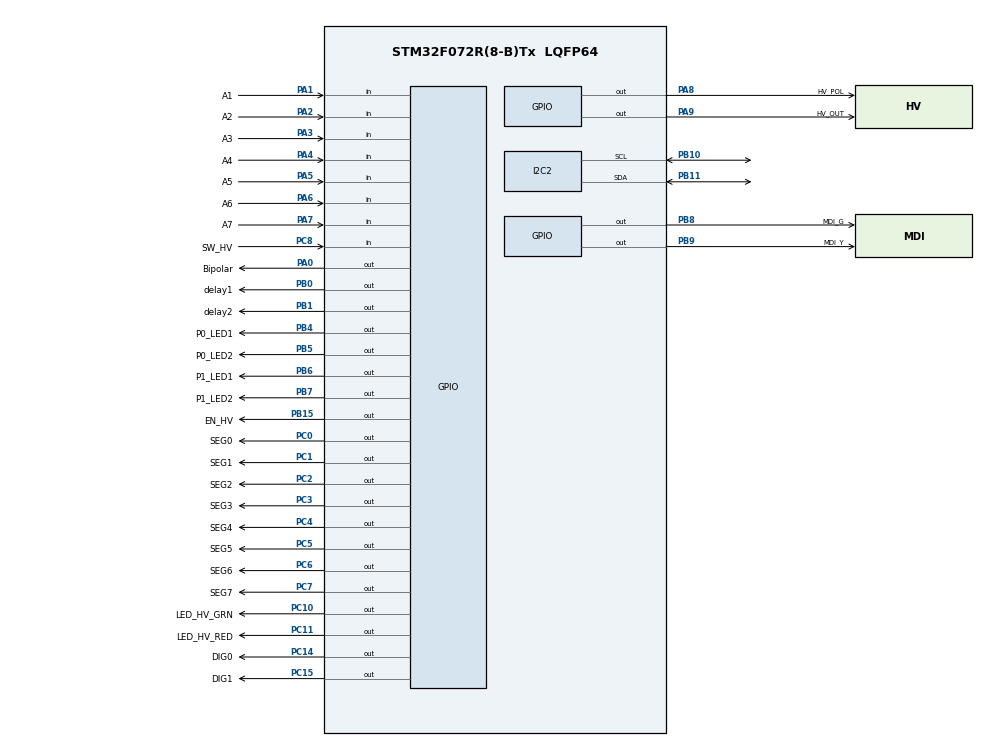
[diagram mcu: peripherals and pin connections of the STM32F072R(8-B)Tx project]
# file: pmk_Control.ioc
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Dma.I2C2_RX.0.Direction=DMA_PERIPH_TO_MEMORY
Dma.I2C2_RX.0.Instance=DMA1_Channel5
Dma.I2C2_RX.0.MemDataAlignment=DMA_MDATAALIGN_BYTE
Dma.I2C2_RX.0.MemInc=DMA_MINC_ENABLE
Dma.I2C2_RX.0.Mode=DMA_NORMAL
Dma.I2C2_RX.0.PeriphDataAlignment=DMA_PDATAALIGN_BYTE
Dma.I2C2_RX.0.PeriphInc=DMA_PINC_DISABLE
Dma.I2C2_RX.0.Priority=DMA_PRIORITY_VERY_HIGH
Dma.I2C2_TX.1.Direction=DMA_MEMORY_TO_PERIPH
Dma.I2C2_TX.1.Instance=DMA1_Channel4
Dma.I2C2_TX.1.MemDataAlignment=DMA_MDATAALIGN_BYTE
Dma.I2C2_TX.1.MemInc=DMA_MINC_ENABLE
Dma.I2C2_TX.1.Mode=DMA_NORMAL
Dma.I2C2_TX.1.PeriphDataAlignment=DMA_PDATAALIGN_BYTE
Dma.I2C2_TX.1.PeriphInc=DMA_PINC_DISABLE
Dma.I2C2_TX.1.Priority=DMA_PRIORITY_VERY_HIGH
Dma.Request0=I2C2_RX
Dma.Request1=I2C2_TX
I2C2.Analog_Filter=I2C_ANALOGFILTER_DISABLE
I2C2.I2C_Fall_Time=100
I2C2.I2C_Rise_Time=100
I2C2.OwnAddress=3
I2C2.Speed=100
I2C2.Timing=0x00201D2B
IWDG.Prescaler=IWDG_PRESCALER_256
Mcu.Family=STM32F0
Mcu.Name=STM32F072R(8-B)Tx
Mcu.Package=LQFP64
NVIC.DMA1_Channel4_5_6_7_IRQn=true\:0\:0\:false\:false\:true\:false\:true\:true
NVIC.I2C2_IRQn=true\:0\:0\:false\:false\:true\:true\:true\:true
NVIC.TIM14_IRQn=true\:3\:0\:true\:false\:true\:true\:true\:true
NVIC.TIM16_IRQn=true\:3\:0\:true\:false\:true\:true\:true\:true
NVIC.TIM17_IRQn=true\:0\:0\:true\:false\:true\:true\:true\:true
NVIC.TIM6_DAC_IRQn=true\:2\:0\:true\:false\:true\:true\:true\:true
NVIC.TIM7_IRQn=true\:3\:0\:true\:false\:true\:true\:true\:true
PA0.GPIO_Label=Bipolar
PA0.GPIO_PuPd=GPIO_NOPULL
PA0.Signal=GPIO_Output
PA1.GPIO_Label=A1
PA1.GPIO_PuPd=GPIO_PULLUP
PA1.Signal=GPIO_Input
PA13.Mode=Serial_Wire
PA13.Signal=SYS_SWDIO
PA14.Mode=Serial_Wire
PA14.Signal=SYS_SWCLK
PA2.GPIO_Label=A2
PA2.GPIO_PuPd=GPIO_PULLUP
PA2.Signal=GPIO_Input
PA3.GPIO_Label=A3
PA3.GPIO_PuPd=GPIO_PULLUP
PA3.Signal=GPIO_Input
PA4.GPIO_Label=A4
PA4.GPIO_PuPd=GPIO_PULLUP
PA4.Signal=GPIO_Input
PA5.GPIO_Label=A5
PA5.GPIO_PuPd=GPIO_PULLUP
PA5.Signal=GPIO_Input
PA6.GPIO_Label=A6
PA6.GPIO_PuPd=GPIO_PULLUP
PA6.Signal=GPIO_Input
PA7.GPIO_Label=A7
PA7.GPIO_PuPd=GPIO_PULLUP
PA7.Signal=GPIO_Input
PA8.GPIO_Label=HV_POL
PA8.Signal=GPIO_Output
PA9.GPIO_Label=HV_OUT
PA9.Signal=GPIO_Output
PB0.GPIO_Label=delay1
PB0.Signal=GPIO_Output
PB1.GPIO_Label=delay2
PB1.Signal=GPIO_Output
PB10.GPIO_Pu=GPIO_NOPULL
PB10.GPIO_Speed=GPIO_SPEED_FREQ_HIGH
PB10.Mode=I2C
PB10.Signal=I2C2_SCL
PB11.GPIO_Pu=GPIO_NOPULL
PB11.GPIO_Speed=GPIO_SPEED_FREQ_HIGH
PB11.Mode=I2C
PB11.Signal=I2C2_SDA
PB15.GPIO_Label=EN_HV
PB15.Signal=GPIO_Output
PB4.GPIO_Label=P0_LED1
PB4.Signal=GPIO_Output
PB5.GPIO_Label=P0_LED2
PB5.Signal=GPIO_Output
PB6.GPIO_Label=P1_LED1
PB6.Signal=GPIO_Output
PB7.GPIO_Label=P1_LED2
PB7.Signal=GPIO_Output
PB8.GPIO_Label=MDI_G
PB8.Signal=GPIO_Output
PB9.GPIO_Label=MDI_Y
PB9.Signal=GPIO_Output
PC0.GPIO_Label=SEG0
PC0.GPIO_Speed=GPIO_SPEED_FREQ_HIGH
PC0.PinState=GPIO_PIN_SET
PC0.Signal=GPIO_Output
PC1.GPIO_Label=SEG1
PC1.GPIO_Speed=GPIO_SPEED_FREQ_HIGH
PC1.PinState=GPIO_PIN_SET
PC1.Signal=GPIO_Output
PC10.GPIO_Label=LED_HV_GRN
PC10.Signal=GPIO_Output
PC11.GPIO_Label=LED_HV_RED
PC11.Signal=GPIO_Output
PC14-OSC32_IN.GPIO_Label=DIG0
PC14-OSC32_IN.PinState=GPIO_PIN_SET
PC14-OSC32_IN.Signal=GPIO_Output
PC15-OSC32_OUT.GPIO_Label=DIG1
PC15-OSC32_OUT.PinState=GPIO_PIN_SET
PC15-OSC32_OUT.Signal=GPIO_Output
PC2.GPIO_Label=SEG2
PC2.GPIO_Speed=GPIO_SPEED_FREQ_HIGH
PC2.PinState=GPIO_PIN_SET
PC2.Signal=GPIO_Output
PC3.GPIO_Label=SEG3
PC3.GPIO_Speed=GPIO_SPEED_FREQ_HIGH
PC3.PinState=GPIO_PIN_SET
PC3.Signal=GPIO_Output
PC4.GPIO_Label=SEG4
PC4.GPIO_Speed=GPIO_SPEED_FREQ_HIGH
PC4.PinState=GPIO_PIN_SET
PC4.Signal=GPIO_Output
PC5.GPIO_Label=SEG5
PC5.GPIO_Speed=GPIO_SPEED_FREQ_HIGH
PC5.PinState=GPIO_PIN_SET
PC5.Signal=GPIO_Output
PC6.GPIO_Label=SEG6
PC6.GPIO_Speed=GPIO_SPEED_FREQ_HIGH
PC6.PinState=GPIO_PIN_SET
PC6.Signal=GPIO_Output
PC7.GPIO_Label=SEG7
PC7.GPIO_Speed=GPIO_SPEED_FREQ_HIGH
PC7.PinState=GPIO_PIN_SET
PC7.Signal=GPIO_Output
PC8.GPIO_Label=SW_HV
PC8.Signal=GPIO_Input
ProjectManager.HeapSize=0x200
ProjectManager.StackSize=0x400
ProjectManager.TargetToolchain=MDK-ARM V5.32
TIM14.Period=1000
TIM14.Prescaler=7999
TIM16.Period=10
TIM16.Prescaler=799
TIM17.Prescaler=8
TIM6.Prescaler=8
TIM7.Prescaler=8
VP_IWDG_VS_IWDG.Mode=IWDG_Activate
VP_TIM14_VS_ClockSourceINT.Mode=Enable_Timer
VP_TIM16_VS_ClockSourceINT.Mode=Enable_Timer
VP_TIM17_VS_ClockSourceINT.Mode=Enable_Timer
VP_TIM6_VS_ClockSourceINT.Mode=Enable_Timer
VP_TIM7_VS_ClockSourceINT.Mode=Enable_Timer
board=custom

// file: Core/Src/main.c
/* USER CODE BEGIN Header */
/**
  ******************************************************************************
  * @file           : main.c
  * @brief          : Main program body
  ******************************************************************************
  * @attention
  *
  * Copyright (c) 2023 STMicroelectronics.
  * All rights reserved.
  *
  * This software is licensed under terms that can be found in the LICENSE file
  * in the root directory of this software component.
  * If no LICENSE file comes with this software, it is provided AS-IS.
  *
  ******************************************************************************
  */
/* USER CODE END Header */
#include "main.h"

/* USER CODE BEGIN PTD */

HAL_StatusTypeDef RTF; // test i2c
HAL_StatusTypeDef WTF; // test i2c
HAL_StatusTypeDef ErrorTF; // test i2c
volatile uint8_t arrI2c[10] = {0, 0, 0};
uint8_t arrI2c_R[4][12];
uint32_t addr;
uint8_t arrI2c_T[4][12];
uint8_t block;
uint8_t lanSelect;
uint32_t lanCurrent = 0;
_Bool blockSetEEPROM = 0;
_Bool I2C_HV_off = 1;
//_Bool HV_on = 0;
uint8_t readyHV[4];
uint32_t delayHV;
uint8_t modeHV =0;
_Bool tempHv;
int hv;
int HV_state = -1;
uint32_t delayHV = 0;
//_Bool test_Bipolar;
//_Bool bipolar;
uint32_t led_hv_dinamic = 0;
uint8_t hvAllarm = 0;

struct I2C_Module i2cm;

char AAR;

uint8_t addrIIc;
uint16_t filtr = 0;
uint16_t filtrDelay = 100; // фильтр по авариям ii2

//			_Bool hvLoad =0;
//uint16_t hvLoadCurrent=0;
/* USER CODE END PTD */

/* USER CODE BEGIN PM */
uint8_t xBuffer[4]; // сканирование плат
uint8_t yBuffer[4][10]; // запись ID устройства
uint8_t zBuffer[4][10];
uint32_t pBuffer;
int hvPool = 0; // при 0 на выход идет -100 В
int poolState = -1;
int hvOut =0; 	// 	при 0 выход закорочен на землю
int outState = -1;
uint16_t indicator_alarm = 0;
uint16_t alarm[4]= {0, 0, 0, 0};

#define I2C1_DEVICE_ADDRESS      0x50   /* A0 = A1 = A2 = 0 */
#define MEMORY_ADDRESS      			0x08
/* USER CODE END PM */

I2C_HandleTypeDef hi2c2;
DMA_HandleTypeDef hdma_i2c2_rx;
DMA_HandleTypeDef hdma_i2c2_tx;

IWDG_HandleTypeDef hiwdg;

TIM_HandleTypeDef htim6;
TIM_HandleTypeDef htim7;
TIM_HandleTypeDef htim14;
TIM_HandleTypeDef htim16;
TIM_HandleTypeDef htim17;

void SystemClock_Config(void);
static void MX_GPIO_Init(void);
static void MX_DMA_Init(void);
static void MX_I2C2_Init(void);
static void MX_TIM7_Init(void);
static void MX_TIM6_Init(void);
static void MX_IWDG_Init(void);
static void MX_TIM14_Init(void);
static void MX_TIM16_Init(void);
static void MX_TIM17_Init(void);

/* USER CODE BEGIN 0 */
void HAL_I2C_MasterTxCpltCallback()
{

	HAL_GPIO_WritePin(delay2_GPIO_Port, delay2_Pin, 1);
	for (int i=0; i<100; i++){__ASM("nop");}
	block = 1;

}
void HAL_I2C_MasterRxCpltCallback()
{
//	HAL_IWDG_Refresh(&hiwdg);
	HAL_GPIO_WritePin(delay1_GPIO_Port, delay1_Pin, 1);
	for (int i=0; i<100; i++){__ASM("nop");}
	block = 0;
}
void HAL_I2C_ErrorCallback()
{
	ErrorTF = HAL_I2C_GetError(&hi2c2);

	block = 0;
}

/* USER CODE END 0 */

int main(void)
{
  /* USER CODE BEGIN 1 */
//__HAL_RCC_I2C1_FORCE_RESET();
//HAL_Delay(1000);
//__HAL_RCC_I2C1_RELEASE_RESET();

	int i;
	i2cm.instance = hi2c2;
	i2cm.sclPin = GPIO_PIN_10;
	i2cm.sclPort = GPIOB;
	i2cm.sdaPin = GPIO_PIN_11;
	i2cm.sdaPort = GPIOB;

  /* USER CODE END 1 */

  /* MCU Configuration--------------------------------------------------------*/

  /* Reset of all peripherals, Initializes the Flash interface and the Systick. */
  HAL_Init();

  /* Configure the system clock */
  SystemClock_Config();

  /* USER CODE BEGIN SysInit */
	 __HAL_RCC_I2C2_CLK_ENABLE();
  HAL_Delay(100);
  __HAL_RCC_I2C2_FORCE_RESET();
  HAL_Delay(100);
  __HAL_RCC_I2C2_RELEASE_RESET();
  HAL_Delay(100);
  /* USER CODE END SysInit */

  /* Initialize all configured peripherals */
  MX_GPIO_Init();
  MX_DMA_Init();
  MX_I2C2_Init();
  MX_TIM7_Init();
  MX_TIM6_Init();
  MX_IWDG_Init();
  MX_TIM14_Init();
  MX_TIM16_Init();
  MX_TIM17_Init();
  /* USER CODE BEGIN 2 */
HAL_TIM_Base_Start_IT(&htim7);
HAL_TIM_Base_Start_IT(&htim6);
HAL_TIM_Base_Start_IT(&htim14);
HAL_TIM_Base_Start_IT(&htim17);
//HAL_TIM_Base_Start_IT(&htim16);
//RTF = HAL_I2C_Master_Transmit_IT(&hi2c2, 0x02, masterAddr, 4);

HAL_GPIO_WritePin(LED_HV_GRN_GPIO_Port, LED_HV_GRN_Pin, 1);

  HAL_GPIO_WritePin(P0_LED1_GPIO_Port, P0_LED1_Pin, 1);
  HAL_GPIO_WritePin(P0_LED2_GPIO_Port, P0_LED2_Pin, 0);
  HAL_GPIO_WritePin(P1_LED1_GPIO_Port, P1_LED1_Pin, 1);
  HAL_GPIO_WritePin(P1_LED2_GPIO_Port, P1_LED2_Pin, 0);
  HAL_GPIO_WritePin(MDI_Y_GPIO_Port, MDI_Y_Pin, 1);
  HAL_GPIO_WritePin(MDI_Y_GPIO_Port, MDI_G_Pin, 0);

  HAL_GPIO_WritePin(GPIOC, DIG1_Pin, 1);
  for(int i=0; i<500; i++)
	  HEX_digit(8, DIG0_Pin);

  HAL_GPIO_WritePin(LED_HV_GRN_GPIO_Port, LED_HV_GRN_Pin, 0);
  HAL_GPIO_WritePin(LED_HV_RED_GPIO_Port, LED_HV_RED_Pin, 1);
  HAL_GPIO_WritePin(P0_LED1_GPIO_Port, P0_LED1_Pin, 0);
  HAL_GPIO_WritePin(P0_LED2_GPIO_Port, P0_LED2_Pin, 1);
  HAL_GPIO_WritePin(P1_LED1_GPIO_Port, P1_LED1_Pin, 0);
  HAL_GPIO_WritePin(P1_LED2_GPIO_Port, P1_LED2_Pin, 1);
  HAL_GPIO_WritePin(MDI_Y_GPIO_Port, MDI_Y_Pin, 0);
  HAL_GPIO_WritePin(MDI_Y_GPIO_Port, MDI_G_Pin, 1);

  HAL_GPIO_WritePin(GPIOC, DIG0_Pin, 1);
  for(int i=0; i<500; i++)
	  HEX_digit(8, DIG1_Pin);

  HAL_GPIO_WritePin(LED_HV_RED_GPIO_Port, LED_HV_RED_Pin, 0);

  HAL_GPIO_WritePin(P0_LED1_GPIO_Port, P0_LED1_Pin, 1);
  HAL_GPIO_WritePin(P0_LED2_GPIO_Port, P0_LED2_Pin, 1);
  HAL_GPIO_WritePin(P1_LED1_GPIO_Port, P1_LED1_Pin, 1);
  HAL_GPIO_WritePin(P1_LED2_GPIO_Port, P1_LED2_Pin, 1);
  HAL_GPIO_WritePin(MDI_Y_GPIO_Port, MDI_Y_Pin, 1);
  HAL_GPIO_WritePin(MDI_Y_GPIO_Port, MDI_G_Pin, 1);

  HAL_GPIO_WritePin(DIG0_GPIO_Port, DIG0_Pin, 0);
  HAL_GPIO_WritePin(DIG1_GPIO_Port, DIG1_Pin, 0);
  GPIOC->BRR = 0xff;
  /* USER CODE END 2 */

  /* Infinite loop */
  /* USER CODE BEGIN WHILE */
	HAL_TIM_Base_Start_IT(&htim16);
	HAL_I2C_Mem_Read(&hi2c2, (uint16_t) I2C1_DEVICE_ADDRESS<<1, MEMORY_ADDRESS, 1, xBuffer, 4, 5); //read memory address 08

//	I2C_ClearBusyFlagErratum(&hi2c2, 1000);

//	RTF = HAL_I2C_Master_Transmit_IT(&hi2c2, 2, masterAddr, 3);
//if ((HAL_GPIO_ReadPin(A2_GPIO_Port, A2_Pin)==0))
//{HAL_GPIO_WritePin(Bipolar_GPIO_Port, Bipolar_Pin, 0);}
//else
//{{HAL_GPIO_WritePin(Bipolar_GPIO_Port, Bipolar_Pin, 0);}

while (1)
  {
		HAL_IWDG_Refresh(&hiwdg);

//		HAL_GPIO_WritePin(Bipolar_GPIO_Port, Bipolar_Pin, bipolar);

	addr = ((~GPIOA->IDR & 0xff)&0xFC)+0x01;	//230724

	  // display current modbus address
	  if ((alarm[0] != 0) & (alarm[1] == 0) & (alarm[2] == 0) &(alarm[3] == 0))
		{
		indicator_alarm = alarm[0]; filtr =0;
		}
		else if ((alarm[0] == 0) & (alarm[1] != 0) & (alarm[2] == 0) &(alarm[3] == 0))
		{
		indicator_alarm = alarm[1]; filtr =0;
		}
		else if ((alarm[0] == 0) & (alarm[1] == 0) & (alarm[2] != 0) &(alarm[3] == 0))
		{
		indicator_alarm = alarm[2]; filtr =0;
		}
		else if ((alarm[0] == 0) & (alarm[1] == 0) & (alarm[2] == 0) &(alarm[3] != 0))
		{
		indicator_alarm = alarm [3]; filtr =0;
		}
		else
		{

			if (filtr > filtrDelay )
			{
			indicator_alarm = 0;
			}
			else
			{
			 filtr ++;
			}
		}

		//		indicator_alarm = 0x21;   2 ошибка 1 авария / предупреждение

		if (indicator_alarm != 0)
				{
					HEX_digit(indicator_alarm >> 4, DIG1_Pin);
					HEX_alarm(indicator_alarm & 15, DIG0_Pin);
			}
		else
				{
					HEX_digit(addr >> 4, DIG1_Pin);
					HEX_digit(addr & 15, DIG0_Pin);
				}

	  // process high voltage button
	  hv = HAL_GPIO_ReadPin(SW_HV_GPIO_Port, SW_HV_Pin)==0;

//		hv = hv & HV_on; //!I2C_HV_off;// 20230913

	  if (hv  != HV_state)
			{
		  // button of high voltage changed
		  HAL_GPIO_WritePin(EN_HV_GPIO_Port, EN_HV_Pin, hv);//hv);

		  HV_state = hv;
			}

		if (hvPool != poolState)
		{
			HAL_GPIO_WritePin(HV_POL_GPIO_Port, HV_POL_Pin, hvPool);
			poolState = hvPool;
		}

		if (hvOut != outState)
		{
			HAL_GPIO_WritePin(HV_OUT_GPIO_Port, HV_OUT_Pin, hvOut);
			outState = hvOut;
		}

    /* USER CODE END WHILE */

    /* USER CODE BEGIN 3 */

	//****function transmit Memory
	//*************************** Блок записи номера шасси начало ***************************** //
				uint8_t masterN = 0xFF;
				for(int i=0; i<5; i++)
				{
					if (((arrI2c_R[i][8]<<8)|(arrI2c_R[i][9])) == 1) // определяем с какой платы вызов
					{
						masterN = i;
						break;
					}
					else
					{
						masterN = 0xFF;
					}

				}
				if ((masterN <5)& !blockSetEEPROM)
				{
					yBuffer[masterN][0] = arrI2c_R[masterN][4];
					yBuffer[masterN][1] = arrI2c_R[masterN][5];
					yBuffer[masterN][2] = arrI2c_R[masterN][6];
					yBuffer[masterN][3] = arrI2c_R[masterN][7];

        HAL_I2C_Mem_Write(&hi2c2, (uint16_t) I2C1_DEVICE_ADDRESS<<1, MEMORY_ADDRESS, 1, yBuffer[masterN], 4, 5);	//write to memory address 08
				HAL_Delay(5000); //system wait
				// Проверка записи
//				yBuffer[masterN][0]=0;yBuffer[masterN][1]=0;yBuffer[masterN][2]=0;yBuffer[masterN][3]=0;yBuffer[masterN][4]=0;yBuffer[masterN][5]=0;yBuffer[masterN][6]=0;yBuffer[masterN][7]=0;yBuffer[masterN][8]=0;yBuffer[masterN][9]=0;
				HAL_I2C_Mem_Read(&hi2c2, (uint16_t) I2C1_DEVICE_ADDRESS<<1, MEMORY_ADDRESS, 1, zBuffer[masterN], 4, 5); //read memory address 08
				for(int i=0; i<4; i++)
				{
						if (yBuffer[masterN][i] != zBuffer[masterN][i])
						{
							arrI2c_T[masterN][5] = 0xF0;
							break;
						}
						else
						{
							arrI2c_T[masterN][5] = 0x0F;
						}
				}
							arrI2c_T[masterN][6] = yBuffer[masterN][0];
							arrI2c_T[masterN][7] = yBuffer[masterN][1];
							arrI2c_T[masterN][8] = yBuffer[masterN][2];
							arrI2c_T[masterN][9] = yBuffer[masterN][3];

//							if (hv == 0)
//							{
//								arrI2c_T[masterN][6] = 1; //yBuffer[masterN][0];
//							}
//							 else
//							{
//								arrI2c_T[masterN][6] = 0; //yBuffer[masterN][0];
//							}

					blockSetEEPROM = 1;
				}

	//*************************** Блок записи номера шасси конец ***************************** //
//
//***********************************************

// чередование плат
				arrI2c_T[lanSelect][0]=addr;
				arrI2c_T[lanSelect][1]=xBuffer[0];
				arrI2c_T[lanSelect][2]=xBuffer[1];
				arrI2c_T[lanSelect][3]=xBuffer[2];
				arrI2c_T[lanSelect][4]=xBuffer[3];
				arrI2c_T[lanSelect][10]= modeHV; // hv;// 230915
//				arrI2c_T[lanSelect][11]= hvAllarm;

//				WTF = HAL_I2C_Master_Transmit_DMA(&hi2c2, 2, masterAddr,5);//, 2000);
				for (int i=0; i<100; i++){}

//				RTF = HAL_I2C_Master_Receive_DMA(&hi2c2, 2, masterAddr,5);//, 2000);

  }
  /* USER CODE END 3 */
}

void SystemClock_Config(void)
{
  RCC_OscInitTypeDef RCC_OscInitStruct = {0};
  RCC_ClkInitTypeDef RCC_ClkInitStruct = {0};

  /** Initializes the RCC Oscillators according to the specified parameters
  * in the RCC_OscInitTypeDef structure.
  */
  RCC_OscInitStruct.OscillatorType = RCC_OSCILLATORTYPE_HSI|RCC_OSCILLATORTYPE_LSI;
  RCC_OscInitStruct.HSIState = RCC_HSI_ON;
  RCC_OscInitStruct.HSICalibrationValue = RCC_HSICALIBRATION_DEFAULT;
  RCC_OscInitStruct.LSIState = RCC_LSI_ON;
  RCC_OscInitStruct.PLL.PLLState = RCC_PLL_NONE;
  if (HAL_RCC_OscConfig(&RCC_OscInitStruct) != HAL_OK)
  {
    Error_Handler();
  }

  /** Initializes the CPU, AHB and APB buses clocks
  */
  RCC_ClkInitStruct.ClockType = RCC_CLOCKTYPE_HCLK|RCC_CLOCKTYPE_SYSCLK
                              |RCC_CLOCKTYPE_PCLK1;
  RCC_ClkInitStruct.SYSCLKSource = RCC_SYSCLKSOURCE_HSI;
  RCC_ClkInitStruct.AHBCLKDivider = RCC_SYSCLK_DIV1;
  RCC_ClkInitStruct.APB1CLKDivider = RCC_HCLK_DIV1;

  if (HAL_RCC_ClockConfig(&RCC_ClkInitStruct, FLASH_LATENCY_0) != HAL_OK)
  {
    Error_Handler();
  }
}

static void MX_I2C2_Init(void)
{

  hi2c2.Instance = I2C2;
  hi2c2.Init.Timing = 0x00201D2B;
  hi2c2.Init.OwnAddress1 = 6;
  hi2c2.Init.AddressingMode = I2C_ADDRESSINGMODE_7BIT;
  hi2c2.Init.DualAddressMode = I2C_DUALADDRESS_DISABLE;
  hi2c2.Init.OwnAddress2 = 0;
  hi2c2.Init.OwnAddress2Masks = I2C_OA2_NOMASK;
  hi2c2.Init.GeneralCallMode = I2C_GENERALCALL_DISABLE;
  hi2c2.Init.NoStretchMode = I2C_NOSTRETCH_DISABLE;
  if (HAL_I2C_Init(&hi2c2) != HAL_OK)
  {
    Error_Handler();
  }

  /** Configure Analogue filter
  */
  if (HAL_I2CEx_ConfigAnalogFilter(&hi2c2, I2C_ANALOGFILTER_DISABLE) != HAL_OK)
  {
    Error_Handler();
  }

  /** Configure Digital filter
  */
  if (HAL_I2CEx_ConfigDigitalFilter(&hi2c2, 0) != HAL_OK)
  {
    Error_Handler();
  }

}

static void MX_IWDG_Init(void)
{

  hiwdg.Instance = IWDG;
  hiwdg.Init.Prescaler = IWDG_PRESCALER_256;
  hiwdg.Init.Window = 4095;
  hiwdg.Init.Reload = 4095;
  if (HAL_IWDG_Init(&hiwdg) != HAL_OK)
  {
    Error_Handler();
  }

}

static void MX_TIM6_Init(void)
{

  TIM_MasterConfigTypeDef sMasterConfig = {0};

  htim6.Instance = TIM6;
  htim6.Init.Prescaler = 8;
  htim6.Init.CounterMode = TIM_COUNTERMODE_UP;
  htim6.Init.Period = 65535;
  htim6.Init.AutoReloadPreload = TIM_AUTORELOAD_PRELOAD_DISABLE;
  if (HAL_TIM_Base_Init(&htim6) != HAL_OK)
  {
    Error_Handler();
  }
  sMasterConfig.MasterOutputTrigger = TIM_TRGO_RESET;
  sMasterConfig.MasterSlaveMode = TIM_MASTERSLAVEMODE_DISABLE;
  if (HAL_TIMEx_MasterConfigSynchronization(&htim6, &sMasterConfig) != HAL_OK)
  {
    Error_Handler();
  }

}

static void MX_TIM7_Init(void)
{

  TIM_MasterConfigTypeDef sMasterConfig = {0};

  htim7.Instance = TIM7;
  htim7.Init.Prescaler = 8;
  htim7.Init.CounterMode = TIM_COUNTERMODE_UP;
  htim7.Init.Period = 65535;
  htim7.Init.AutoReloadPreload = TIM_AUTORELOAD_PRELOAD_DISABLE;
  if (HAL_TIM_Base_Init(&htim7) != HAL_OK)
  {
    Error_Handler();
  }
  sMasterConfig.MasterOutputTrigger = TIM_TRGO_RESET;
  sMasterConfig.MasterSlaveMode = TIM_MASTERSLAVEMODE_DISABLE;
  if (HAL_TIMEx_MasterConfigSynchronization(&htim7, &sMasterConfig) != HAL_OK)
  {
    Error_Handler();
  }

}

static void MX_TIM14_Init(void)
{

  htim14.Instance = TIM14;
  htim14.Init.Prescaler = 7999;
  htim14.Init.CounterMode = TIM_COUNTERMODE_UP;
  htim14.Init.Period = 1000;
  htim14.Init.ClockDivision = TIM_CLOCKDIVISION_DIV1;
  htim14.Init.AutoReloadPreload = TIM_AUTORELOAD_PRELOAD_DISABLE;
  if (HAL_TIM_Base_Init(&htim14) != HAL_OK)
  {
    Error_Handler();
  }

}

static void MX_TIM16_Init(void)
{

  htim16.Instance = TIM16;
  htim16.Init.Prescaler = 799;
  htim16.Init.CounterMode = TIM_COUNTERMODE_UP;
  htim16.Init.Period = 10;
  htim16.Init.ClockDivision = TIM_CLOCKDIVISION_DIV1;
  htim16.Init.RepetitionCounter = 0;
  htim16.Init.AutoReloadPreload = TIM_AUTORELOAD_PRELOAD_DISABLE;
  if (HAL_TIM_Base_Init(&htim16) != HAL_OK)
  {
    Error_Handler();
  }

}

static void MX_TIM17_Init(void)
{

  htim17.Instance = TIM17;
  htim17.Init.Prescaler = 8;
  htim17.Init.CounterMode = TIM_COUNTERMODE_UP;
  htim17.Init.Period = 65535;
  htim17.Init.ClockDivision = TIM_CLOCKDIVISION_DIV1;
  htim17.Init.RepetitionCounter = 0;
  htim17.Init.AutoReloadPreload = TIM_AUTORELOAD_PRELOAD_DISABLE;
  if (HAL_TIM_Base_Init(&htim17) != HAL_OK)
  {
    Error_Handler();
  }

}

static void MX_DMA_Init(void)
{

  /* DMA controller clock enable */
  __HAL_RCC_DMA1_CLK_ENABLE();

  /* DMA interrupt init */
  /* DMA1_Channel4_5_6_7_IRQn interrupt configuration */
  HAL_NVIC_SetPriority(DMA1_Channel4_5_6_7_IRQn, 0, 0);
  HAL_NVIC_EnableIRQ(DMA1_Channel4_5_6_7_IRQn);

}

static void MX_GPIO_Init(void)
{
  GPIO_InitTypeDef GPIO_InitStruct = {0};

  /* GPIO Ports Clock Enable */
  __HAL_RCC_GPIOC_CLK_ENABLE();
  __HAL_RCC_GPIOA_CLK_ENABLE();
  __HAL_RCC_GPIOB_CLK_ENABLE();

  /*Configure GPIO pin Output Level */
  HAL_GPIO_WritePin(GPIOC, DIG0_Pin|DIG1_Pin|SEG0_Pin|SEG1_Pin
                          |SEG2_Pin|SEG3_Pin|SEG4_Pin|SEG5_Pin
                          |SEG6_Pin|SEG7_Pin, GPIO_PIN_SET);

  /*Configure GPIO pin Output Level */
  HAL_GPIO_WritePin(GPIOA, Bipolar_Pin|HV_POL_Pin|HV_OUT_Pin, GPIO_PIN_RESET);

  /*Configure GPIO pin Output Level */
  HAL_GPIO_WritePin(GPIOB, delay1_Pin|delay2_Pin|EN_HV_Pin|P0_LED1_Pin
                          |P0_LED2_Pin|P1_LED1_Pin|P1_LED2_Pin|MDI_G_Pin
                          |MDI_Y_Pin, GPIO_PIN_RESET);

  /*Configure GPIO pin Output Level */
  HAL_GPIO_WritePin(GPIOC, LED_HV_GRN_Pin|LED_HV_RED_Pin, GPIO_PIN_RESET);

  /*Configure GPIO pins : DIG0_Pin DIG1_Pin LED_HV_GRN_Pin LED_HV_RED_Pin */
  GPIO_InitStruct.Pin = DIG0_Pin|DIG1_Pin|LED_HV_GRN_Pin|LED_HV_RED_Pin;
  GPIO_InitStruct.Mode = GPIO_MODE_OUTPUT_PP;
  GPIO_InitStruct.Pull = GPIO_NOPULL;
  GPIO_InitStruct.Speed = GPIO_SPEED_FREQ_LOW;
  HAL_GPIO_Init(GPIOC, &GPIO_InitStruct);

  /*Configure GPIO pins : SEG0_Pin SEG1_Pin SEG2_Pin SEG3_Pin
                           SEG4_Pin SEG5_Pin SEG6_Pin SEG7_Pin */
  GPIO_InitStruct.Pin = SEG0_Pin|SEG1_Pin|SEG2_Pin|SEG3_Pin
                          |SEG4_Pin|SEG5_Pin|SEG6_Pin|SEG7_Pin;
  GPIO_InitStruct.Mode = GPIO_MODE_OUTPUT_PP;
  GPIO_InitStruct.Pull = GPIO_NOPULL;
  GPIO_InitStruct.Speed = GPIO_SPEED_FREQ_HIGH;
  HAL_GPIO_Init(GPIOC, &GPIO_InitStruct);

  /*Configure GPIO pins : Bipolar_Pin HV_POL_Pin HV_OUT_Pin */
  GPIO_InitStruct.Pin = Bipolar_Pin|HV_POL_Pin|HV_OUT_Pin;
  GPIO_InitStruct.Mode = GPIO_MODE_OUTPUT_PP;
  GPIO_InitStruct.Pull = GPIO_NOPULL;
  GPIO_InitStruct.Speed = GPIO_SPEED_FREQ_LOW;
  HAL_GPIO_Init(GPIOA, &GPIO_InitStruct);

  /*Configure GPIO pins : A1_Pin A2_Pin A3_Pin A4_Pin
                           A5_Pin A6_Pin A7_Pin */
  GPIO_InitStruct.Pin = A1_Pin|A2_Pin|A3_Pin|A4_Pin
                          |A5_Pin|A6_Pin|A7_Pin;
  GPIO_InitStruct.Mode = GPIO_MODE_INPUT;
  GPIO_InitStruct.Pull = GPIO_PULLUP;
  HAL_GPIO_Init(GPIOA, &GPIO_InitStruct);

  /*Configure GPIO pins : delay1_Pin delay2_Pin EN_HV_Pin P0_LED1_Pin
                           P0_LED2_Pin P1_LED1_Pin P1_LED2_Pin MDI_G_Pin
                           MDI_Y_Pin */
  GPIO_InitStruct.Pin = delay1_Pin|delay2_Pin|EN_HV_Pin|P0_LED1_Pin
                          |P0_LED2_Pin|P1_LED1_Pin|P1_LED2_Pin|MDI_G_Pin
                          |MDI_Y_Pin;
  GPIO_InitStruct.Mode = GPIO_MODE_OUTPUT_PP;
  GPIO_InitStruct.Pull = GPIO_NOPULL;
  GPIO_InitStruct.Speed = GPIO_SPEED_FREQ_LOW;
  HAL_GPIO_Init(GPIOB, &GPIO_InitStruct);

  /*Configure GPIO pin : SW_HV_Pin */
  GPIO_InitStruct.Pin = SW_HV_Pin;
  GPIO_InitStruct.Mode = GPIO_MODE_INPUT;
  GPIO_InitStruct.Pull = GPIO_NOPULL;
  HAL_GPIO_Init(SW_HV_GPIO_Port, &GPIO_InitStruct);

}

/* USER CODE BEGIN 4 */
void HAL_TIM_PeriodElapsedCallback(TIM_HandleTypeDef *htim)
{
	if(htim->Instance == TIM17)
	{
		if(block==0)
		{
//		uint8_t addr;
		addrIIc = (lanSelect+1)<<1;

		WTF = HAL_I2C_Master_Transmit_DMA(&hi2c2, addrIIc , arrI2c_T[lanSelect],12);//, 2000);  (lanSelect+1)
		}
		if (WTF != HAL_OK)
		{
//				for (int i=0; i <1000; i++){__ASM("nop");}
//			 I2C_ClearBusyFlagErratum1(&i2cm);
//				for (int i=0; i <1000; i++){__ASM("nop");}
		}
		if (block ==1)
		{
		// Перезапуск сторожевого таймера
//		HAL_WWDG_Refresh(&hwwdg);
			RTF = HAL_I2C_Master_Receive_DMA(&hi2c2, addrIIc,arrI2c_R[lanSelect],12);//, 2000); lanSelect+1
			if (RTF == HAL_OK)
			{
			alarm[0] = arrI2c_R[0][11];
			alarm[1] = arrI2c_R[1][11];
			alarm[2] = arrI2c_R[2][11];
			alarm[3] = arrI2c_R[3][11];
			}
		}

		if (WTF != HAL_OK)  //| (RTF !=HAL_OK)
		{
//			I2C_ClearBusyFlagErratum(&hi2c2, 1000);
		}

	}

	if(htim->Instance == TIM7)
	{
//		if(block==0)
//		{
//		WTF = HAL_I2C_Master_Transmit_DMA(&hi2c2, (lanSelect+1), arrI2c_T[lanSelect],12);//, 2000);
//
//		}
//		else
//		{
//		// Перезапуск сторожевого таймера
////		HAL_WWDG_Refresh(&hwwdg);
//			RTF = HAL_I2C_Master_Receive_DMA(&hi2c2, (lanSelect+1),arrI2c_R[lanSelect],12);//, 2000);
//			alarm[0] = arrI2c_R[0][11];
//			alarm[1] = arrI2c_R[1][11];
////			alarm[2] = arrI2c_R[2][11];
////			alarm[3] = arrI2c_R[3][11];
//		}
//
//		if ((WTF != HAL_OK) | (RTF !=HAL_OK))
//		{
////			I2C_ClearBusyFlagErratum(&hi2c2, 1000);
//		}

	}
	if(htim->Instance == TIM6)
	{
		if(lanCurrent > _timeLanC)
		{lanCurrent = 0;}
		else
		{lanCurrent++;}
		switch (lanCurrent)
    {
    	case 00:
				lanSelect = 0;
    		break;
    	case 10:
				lanSelect = 1;
    		break;
//			case 200:
//				lanSelect = 3;
//    		break;
//    	case 300:
//				lanSelect = 4;
//    		break;
    }

		if ((arrI2c_R[0][0]) | arrI2c_R[1][0]|arrI2c_R[2][0]|arrI2c_R[3][0]) // 230915
			{
				hvAllarm = 1;
////			HAL_GPIO_WritePin(LED_HV_GRN_GPIO_Port, LED_HV_GRN_Pin, GPIO_PIN_RESET);
////			HAL_GPIO_WritePin(LED_HV_RED_GPIO_Port, LED_HV_RED_Pin, GPIO_PIN_SET);
//////				I2C_HV_off = 1;
			}
			else
			{
				hvAllarm =0;
////			HAL_GPIO_WritePin(LED_HV_GRN_GPIO_Port, LED_HV_GRN_Pin, GPIO_PIN_SET);
////			HAL_GPIO_WritePin(LED_HV_RED_GPIO_Port, LED_HV_RED_Pin, GPIO_PIN_RESET);
//////				I2C_HV_off = 0;
			}

			if (arrI2c_R[0][1]|arrI2c_R[1][1]|arrI2c_R[2][1]|arrI2c_R[3][1])
			{HAL_GPIO_WritePin(P0_LED1_GPIO_Port, P0_LED1_Pin,GPIO_PIN_RESET);
			HAL_GPIO_WritePin(P1_LED1_GPIO_Port, P1_LED1_Pin,GPIO_PIN_RESET);
			HAL_GPIO_WritePin(P0_LED2_GPIO_Port, P0_LED2_Pin,GPIO_PIN_SET);
			HAL_GPIO_WritePin(P1_LED2_GPIO_Port, P1_LED2_Pin,GPIO_PIN_SET);}
			else
			{HAL_GPIO_WritePin(P0_LED1_GPIO_Port, P0_LED1_Pin,GPIO_PIN_SET);
			HAL_GPIO_WritePin(P1_LED1_GPIO_Port, P1_LED1_Pin,GPIO_PIN_SET);
			HAL_GPIO_WritePin(P0_LED2_GPIO_Port, P0_LED2_Pin,GPIO_PIN_RESET);
			HAL_GPIO_WritePin(P1_LED2_GPIO_Port, P1_LED2_Pin,GPIO_PIN_RESET);}

	}
	if(htim->Instance == TIM14)
	{
//		tempHv = HAL_GPIO_ReadPin(A1_GPIO_Port, A1_Pin)==0; // 1 если аварии нет
//		if (tempHv)
//		{hvLoad = 0;}//Нужно наоборот
//		else if ((modeHV==4) | (modeHV==8))
//		{hvLoad = 1;}

		switch (modeHV)
    {
    	case 0:
				hvOut =0;
				hvPool = 0;
				if (timeDel(_timePause))
				{
					modeHV = 1;
				}
    		break;
    	case 1:
				hvOut =0;
				hvPool = 0;
				if (timeDel(_timeMeasureVolt))
				{
					modeHV = 2;
				}
    		break;
			case 2:
				hvOut =0;
				hvPool = 0;
				if (timeDel(_timeDeley))
				{
					modeHV = 3;
				}
				break;
			case 3:
				hvOut =1;
				hvPool = 0;

				if (timeDel(_timePause))
				{
					modeHV =4;
				}
				break;
			case 4:
				hvOut =1;
				hvPool = 0;
				if(timeDel(_timeMeasure))
				{
					modeHV = 5;
				}
				break;

			case 5:
				hvOut =1;
				hvPool = 0;

				if(timeDel(_timeDeley))
				{
					modeHV = 6;
				}
				break;
			case 6:						// пауза для снятия - перед подачей +
				hvOut =0;
				hvPool = 1;
				if(timeDel(_timeDeley))
				{
					modeHV = 7;
				}
				break;
    	case 7:
				hvOut =1;
				hvPool = 1;

				if (timeDel(_timePause))
				{
					modeHV = 8;
				}
    		break;
    	case 8:
				hvOut =1;
				hvPool = 1;

				if (timeDel(_timeMeasure))
				{
					modeHV = 9;
				}
    		break;
			case 9:
				hvOut =1;
				hvPool = 1;
				if (timeDel(_timeDeley))
				{
					modeHV = 10;
				}
				break;
			case 10:											// пауза для снятия + перед подачей -
				hvOut = 0;
				hvPool = 1;
				if (timeDel(_timeDeley))
				{
					modeHV = 0;
				}
				break;

    	default:
				modeHV = 0;
    		break;
    }

	}
	if(htim->Instance == TIM16)
	{

		if (hvAllarm)
			{
				HAL_GPIO_WritePin(LED_HV_RED_GPIO_Port, LED_HV_RED_Pin,1);
				HAL_GPIO_WritePin(LED_HV_GRN_GPIO_Port, LED_HV_GRN_Pin, 0);//);
			}
		else if (hv & hvOut)
			{
				HAL_GPIO_WritePin(LED_HV_GRN_GPIO_Port, LED_HV_GRN_Pin, 1);//);
				HAL_GPIO_WritePin(LED_HV_RED_GPIO_Port, LED_HV_RED_Pin, 0);
			}
		else
			{
			HAL_GPIO_WritePin(LED_HV_GRN_GPIO_Port, LED_HV_GRN_Pin, 1);//);
			HAL_GPIO_WritePin(LED_HV_RED_GPIO_Port, LED_HV_RED_Pin, 1);
			}
		if((led_hv_dinamic>0)&(led_hv_dinamic<11)& (hvAllarm == 0))
			{HAL_GPIO_WritePin(LED_HV_RED_GPIO_Port, LED_HV_RED_Pin, 0);}
		else if(led_hv_dinamic>=14)
			{led_hv_dinamic =0;}
			led_hv_dinamic++;

	}

}
/* USER CODE END 4 */

void Error_Handler(void)
{
  __disable_irq();
  while (1)
  {
  }
}
